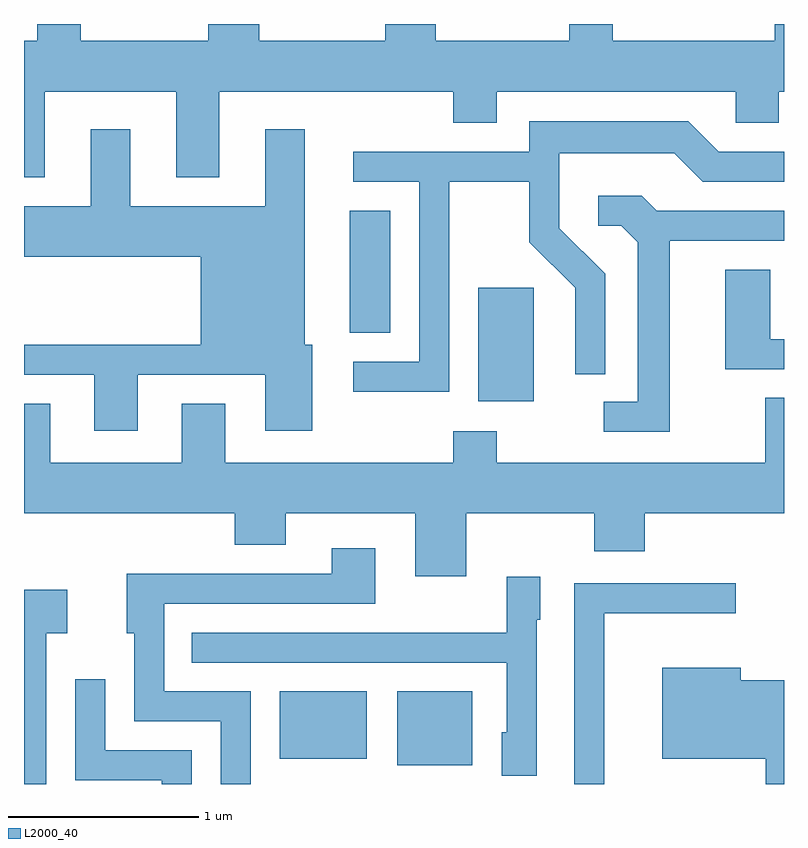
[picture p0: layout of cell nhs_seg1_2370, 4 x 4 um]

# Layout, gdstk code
import gdstk
lib = gdstk.Library(unit=1e-6, precision=1e-09)
def R(c, l, rs):  # rectangles x0, y0, x1, y1
    for r in rs: c.add(gdstk.rectangle(r[:2], r[2:], *l))
def P(c, l, *ps):  # polygons
    for p in ps: c.add(gdstk.Polygon(p, *l))
L2000_40 = (2000, 40)

nhs_seg1_2370 = lib.new_cell('nhs_seg1_2370')
R(nhs_seg1_2370, L2000_40, [(259.576,893.811,259.969,894.199), (258.956,893.846,259.414,894.199), (260.001,895.726,260.294,896.324), (259.326,896.086,259.539,896.729)])
P(nhs_seg1_2370, L2000_40, [(259.871,897.191),(260.099,897.191),(260.099,897.356),(261.356,897.356),(261.356,897.191),(261.584,897.191),(261.584,897.356),(261.611,897.356),(261.611,897.712),(261.561,897.712),(261.561,897.624),(260.709,897.624),(260.709,897.712),(260.481,897.712),(260.481,897.624),(259.779,897.624),(259.779,897.712),(259.511,897.712),(259.511,897.624),(258.849,897.624),(258.849,897.712),(258.581,897.712),(258.581,897.624),(257.909,897.624),(257.909,897.712),(257.681,897.712),(257.681,897.624),(257.611,897.624),(257.611,896.906),(257.719,896.906),(257.719,897.356),(258.411,897.356),(258.411,896.906),(258.639,896.906),(258.639,897.356),(259.871,897.356)],
  [(259.849,896.881),(260.271,896.881),(260.271,896.564),(260.511,896.324),(260.511,895.868),(260.669,895.868),(260.669,896.397),(260.429,896.637),(260.429,897.031),(261.034,897.031),(261.183,896.881),(261.611,896.881),(261.611,897.039),(261.267,897.039),(261.106,897.199),(260.271,897.199),(260.271,897.039),(259.343,897.039),(259.343,896.881),(259.691,896.881),(259.691,895.934),(259.343,895.934),(259.343,895.776),(259.849,895.776)],
  [(258.209,895.866),(258.881,895.866),(258.881,895.571),(259.129,895.571),(259.129,896.024),(259.089,896.024),(259.089,897.159),(258.881,897.159),(258.881,896.754),(258.169,896.754),(258.169,897.159),(257.961,897.159),(257.961,896.754),(257.611,896.754),(257.611,896.486),(258.541,896.486),(258.541,896.024),(257.611,896.024),(257.611,895.866),(257.981,895.866),(257.981,895.571),(258.209,895.571)],
  [(261.009,896.571),(261.611,896.571),(261.611,896.729),(260.942,896.729),(260.861,896.809),(260.633,896.809),(260.633,896.651),(260.754,896.651),(260.841,896.564),(260.841,895.724),(260.663,895.724),(260.663,895.566),(261.009,895.566)],
  [(261.611,896.054),(261.539,896.054),(261.539,896.419),(261.301,896.419),(261.301,895.896),(261.611,895.896)],
  [(259.939,895.136),(260.611,895.136),(260.611,894.936),(260.879,894.936),(260.879,895.136),(261.611,895.136),(261.611,895.744),(261.511,895.744),(261.511,895.404),(260.099,895.404),(260.099,895.569),(259.871,895.569),(259.871,895.404),(258.669,895.404),(258.669,895.714),(258.441,895.714),(258.441,895.404),(257.749,895.404),(257.749,895.714),(257.611,895.714),(257.611,895.136),(258.721,895.136),(258.721,894.971),(258.989,894.971),(258.989,895.136),(259.671,895.136),(259.671,894.806),(259.939,894.806)],
  [(258.804,894.199),(258.349,894.199),(258.349,894.661),(259.459,894.661),(259.459,894.954),(259.231,894.954),(259.231,894.819),(258.151,894.819),(258.151,894.506),(258.191,894.506),(258.191,894.041),(258.646,894.041),(258.646,893.712),(258.804,893.712)],
  [(260.309,894.576),(260.329,894.576),(260.329,894.804),(260.151,894.804),(260.151,894.509),(258.493,894.509),(258.493,894.351),(260.151,894.351),(260.151,893.984),(260.126,893.984),(260.126,893.756),(260.309,893.756)],
  [(260.664,894.611),(261.358,894.611),(261.358,894.769),(260.506,894.769),(260.506,893.712),(260.664,893.712)],
  [(257.729,894.506),(257.839,894.506),(257.839,894.734),(257.611,894.734),(257.611,893.712),(257.729,893.712)],
  [(261.611,894.259),(261.384,894.259),(261.384,894.324),(260.971,894.324),(260.971,893.846),(261.516,893.846),(261.516,893.712),(261.611,893.712)],
  [(258.494,893.889),(258.039,893.889),(258.039,894.263),(257.881,894.263),(257.881,893.731),(258.336,893.731),(258.336,893.712),(258.494,893.712)])

lib.write_gds('nhs_seg1_2370.gds')
